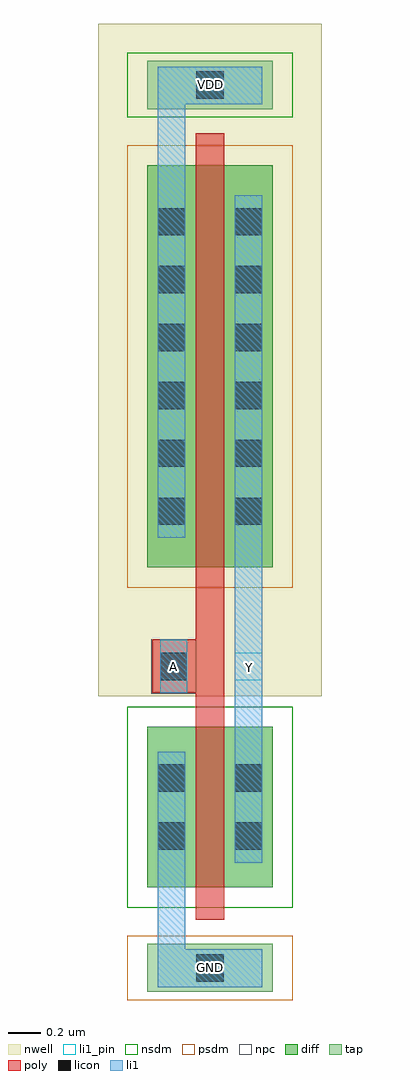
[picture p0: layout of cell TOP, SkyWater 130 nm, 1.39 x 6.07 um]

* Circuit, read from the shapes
.subckt TOP A GND VDD Y
XM1 Y A GND GND sky130_fd_pr__nfet_01v8 w=1 l=0.18
XM2 Y A VDD VDD sky130_fd_pr__pfet_01v8 w=2.5 l=0.18
.ends

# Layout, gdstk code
import gdstk
lib = gdstk.Library(unit=1e-6, precision=1e-09)
def R(c, l, rs):  # rectangles x0, y0, x1, y1
    for r in rs: c.add(gdstk.rectangle(r[:2], r[2:], *l))
def A(c, l, x, y, w, h, nx, ny, dx, dy):  # array of equal rectangles
    R(c, l, [(x+i*dx, y+j*dy, x+i*dx+w, y+j*dy+h) for i in range(nx) for j in range(ny)])
nwell = (64, 20)
diff = (65, 20)
tap = (65, 44)
poly = (66, 20)
licon = (66, 44)
li1_pin = (67, 16)
li1 = (67, 20)
nsdm = (93, 44)
psdm = (94, 20)
npc = (95, 20)

top = lib.new_cell('TOP')
R(top, nwell, [(-0.195,-0.21,1.195,3.97)])
R(top, diff, [(0.11,-1.4,0.89,-0.4), (0.11,0.59,0.89,3.09)])
R(top, tap, [(0.11,-2.05,0.89,-1.75), (0.11,3.44,0.89,3.74)])
R(top, poly, [(0.41,-1.6,0.59,3.29), (0.14,-0.19,0.41,0.14)])
A(top, licon, 0.175, 0.855, 0.17, 0.17, 1, 6, 0, 0.36)
A(top, licon, 0.655, 0.855, 0.17, 0.17, 1, 6, 0, 0.36)
R(top, licon, [(0.415,-1.985,0.585,-1.815), (0.175,-1.165,0.345,-0.995), (0.655,-1.165,0.825,-0.995), (0.175,-0.805,0.345,-0.635), (0.655,-0.805,0.825,-0.635), (0.19,-0.11,0.36,0.06), (0.415,3.505,0.585,3.675)])
R(top, li1_pin, [(0.415,-1.985,0.585,-1.815), (0.19,-0.11,0.36,0.06), (0.655,-0.11,0.825,0.06), (0.415,3.505,0.585,3.675)])
R(top, li1, [(0.175,-2.02,0.825,-1.785), (0.175,-1.785,0.345,-0.555), (0.655,-1.245,0.825,-0.555), (0.655,-0.555,0.825,0.775), (0.19,-0.19,0.36,0.14), (0.175,0.775,0.345,3.47), (0.655,0.775,0.825,2.905), (0.175,3.47,0.825,3.705)])
R(top, nsdm, [(-0.015,-1.525,1.015,-0.275), (-0.015,3.39,1.015,3.79)])
R(top, psdm, [(-0.015,-2.1,1.015,-1.7), (-0.015,0.465,1.015,3.215)])
R(top, npc, [(0.135,-0.195,0.415,0.145)])
top.add(gdstk.Label('GND', (0.5,-1.9), layer=67, texttype=5))
top.add(gdstk.Label('VDD', (0.502,3.595), layer=67, texttype=5))
top.add(gdstk.Label('A', (0.274,-0.026), layer=67, texttype=5))
top.add(gdstk.Label('Y', (0.744,-0.03), layer=67, texttype=5))

lib.write_gds('TOP.gds')
